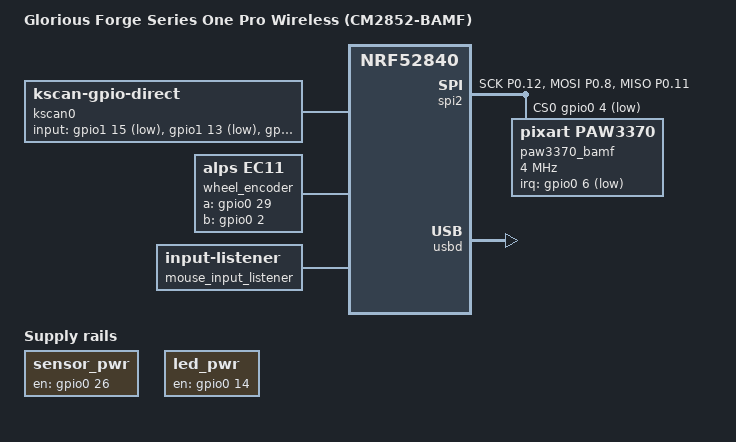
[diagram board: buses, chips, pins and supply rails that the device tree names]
/*
 * Glorious Forge Series One Pro Wireless (CM2852-BAMF) — ZMK / Zephyr Board Devicetree
 *
 * All GPIO pins, SPI2 sensor bus, flash partitions, and bootloader magic RAM
 * reservation verified directly from CM2856_Mouse_USB_v1.00.00_20220810.hex.
 *
 * SPDX-License-Identifier: MIT
 */

/dts-v1/;
#include <nordic/nrf52840_qiaa.dtsi>
#include <dt-bindings/zmk/keys.h>
#include <dt-bindings/zmk/pointing.h>

/ {
    model = "Glorious Forge Series One Pro Wireless (CM2852-BAMF)";
    compatible = "glorious,series-one-pro", "nordic,nrf52840-qiaa", "nordic,nrf52840";

    chosen {
        zephyr,code-partition = &code_partition;
        zephyr,sram = &sram0;
        zephyr,flash = &flash0;
        zmk,kscan = &kscan0;
    };

    /*
     * Reserve top 16 bytes of 256 KB SRAM (0x2003FFF0..0x2003FFFF) so the
     * Compx USB HID Bootloader magic word at 0x2003FFFC (0xA55AA55A) is
     * never overwritten by stack or heap allocations.
     */
    sram@2003FFF0 {
        compatible = "zephyr,memory-region";
        reg = <0x2003FFF0 0x00000010>;
        zephyr,memory-region = "BOOTLOADER_MAGIC_RAM";
    };

    /* Direct GPIO Mouse Buttons (Verified from 0x0000C5B8 & 0x00016B3C) */
    kscan0: kscan {
        compatible = "zmk,kscan-gpio-direct";
        wakeup-source;
        input-gpios
            = <&gpio1 15 (GPIO_ACTIVE_LOW | GPIO_PULL_UP)> /* Btn 0: Left Click (LMB)   */
            , <&gpio1 13 (GPIO_ACTIVE_LOW | GPIO_PULL_UP)> /* Btn 1: Right Click (RMB)  */
            , <&gpio1 10 (GPIO_ACTIVE_LOW | GPIO_PULL_UP)> /* Btn 2: Middle Click (MMB) */
            , <&gpio0  9 (GPIO_ACTIVE_LOW | GPIO_PULL_UP)> /* Btn 3: Back (Side 4, NFC1)*/
            , <&gpio0 10 (GPIO_ACTIVE_LOW | GPIO_PULL_UP)> /* Btn 4: Fwd  (Side 5, NFC2)*/
            , <&gpio1  0 (GPIO_ACTIVE_LOW | GPIO_PULL_UP)> /* Btn 5: DPI Cycle Button   */
            ;
    };

    /* Scroll Wheel Quadrature Encoder (Verified from 0x0000C5F8 & 0x00016CB2) */
    wheel_encoder: encoder_wheel {
        compatible = "alps,ec11";
        a-gpios = <&gpio0 29 (GPIO_ACTIVE_HIGH | GPIO_PULL_UP)>;
        b-gpios = <&gpio0  2 (GPIO_ACTIVE_HIGH | GPIO_PULL_UP)>;
        steps = <24>;
        status = "okay";
    };

    /* Peripheral Power Rail Enables (Verified from 0x0000C61A & 0x0000C636) */
    sensor_pwr: regulator-sensor-pwr {
        compatible = "regulator-fixed";
        regulator-name = "sensor-pwr-en";
        enable-gpios = <&gpio0 26 GPIO_ACTIVE_HIGH>;
        regulator-boot-on;
    };

    led_pwr: regulator-led-pwr {
        compatible = "regulator-fixed";
        regulator-name = "led-pwr-en";
        enable-gpios = <&gpio0 14 GPIO_ACTIVE_HIGH>;
        regulator-boot-on;
    };

    /* Open Directional DPI v1 Input Processor Node */
    ddpi_processor: directional_dpi_processor {
        compatible = "zmk,input-processor-directional-dpi";
        #input-processor-cells = <0>;
        base-dpi = <800>;
        global-gain-q8-8 = <256>;
        multipliers-q8-8 = <256 256 256 256 256 256 256 256>;
        status = "okay";
    };

    /* Input Listener chaining PAW3370 sensor through Open Directional DPI v1 */
    mouse_input_listener {
        compatible = "zmk,input-listener";
        device = <&paw3370_bamf>;
        input-processors = <&ddpi_processor>;
    };
};

/* Reserve 0x2003FFF0..0x2003FFFF outside main Zephyr SRAM */
&sram0 {
    reg = <0x20000000 0x0003FFF0>;
};

/* P0.09 and P0.10 are used for Side Buttons 4 & 5, not NFC antenna */
&uicr {
    nfcpins-as-gpios;
};

&gpio0 {
    status = "okay";
};

&gpio1 {
    status = "okay";
};

&gpiote {
    status = "okay";
};

/*
 * SPI2 Bus for Glorious BAMF / PixArt PAW3370 Optical Sensor
 * Verified from 0x000184C8..0x0001855C:
 *   CSN  = P0.04
 *   SCK  = P0.12
 *   MISO = P0.11
 *   MOSI = P0.08
 *   IRQ  = P0.06 (MOTION active-low interrupt)
 *   Freq = 4 MHz, SPI Mode 3 (CPOL=1, CPHA=1)
 */
&pinctrl {
    spi2_default: spi2_default {
        group1 {
            psels = <NRF_PSEL(SPIM_SCK, 0, 12)>,
                    <NRF_PSEL(SPIM_MOSI, 0, 8)>,
                    <NRF_PSEL(SPIM_MISO, 0, 11)>;
        };
    };

    spi2_sleep: spi2_sleep {
        group1 {
            psels = <NRF_PSEL(SPIM_SCK, 0, 12)>,
                    <NRF_PSEL(SPIM_MOSI, 0, 8)>,
                    <NRF_PSEL(SPIM_MISO, 0, 11)>;
            low-power-enable;
        };
    };
};

&spi2 {
    compatible = "nordic,nrf-spim";
    status = "okay";
    pinctrl-0 = <&spi2_default>;
    pinctrl-1 = <&spi2_sleep>;
    pinctrl-names = "default", "sleep";
    cs-gpios = <&gpio0 4 GPIO_ACTIVE_LOW>;

    paw3370_bamf: paw3370@0 {
        compatible = "pixart,paw3370";
        reg = <0>;
        spi-max-frequency = <4000000>;
        irq-gpios = <&gpio0 6 (GPIO_ACTIVE_LOW | GPIO_PULL_UP)>;
        cpi = <800>;
    };
};

&usbd {
    compatible = "nordic,nrf-usbd";
    status = "okay";
};

/*
 * Flash Partition Layout (Preserves Compx Bootloader AND Stock Calibration/Pairing!)
 *   0x00000000..0x00005FFF (24 KB):  Compx Resident USB HID Bootloader (258a:2103)
 *   0x00006000..0x0007DFFF (480 KB): Custom Application Firmware Partition
 *   0x0007E000..0x0007FFFF (8 KB):   Dedicated Open Directional DPI NVS Storage
 *   0x00088000..0x000DFFFF:          UNTOUCHED Stock RF Pairing & Profile Flash
 */
&flash0 {
    partitions {
        compatible = "fixed-partitions";
        #address-cells = <1>;
        #size-cells = <1>;

        compx_boot_partition: partition@0 {
            label = "compx_bootloader";
            reg = <0x00000000 0x00006000>;
            read-only;
        };

        code_partition: partition@6000 {
            label = "image-0";
            reg = <0x00006000 0x00078000>;
        };

        storage_partition: partition@7e000 {
            label = "storage";
            reg = <0x0007E000 0x00002000>;
        };

        stock_reserved_partition: partition@88000 {
            label = "stock_pairing_and_profiles";
            reg = <0x00088000 0x00058000>;
            read-only;
        };
    };
};
